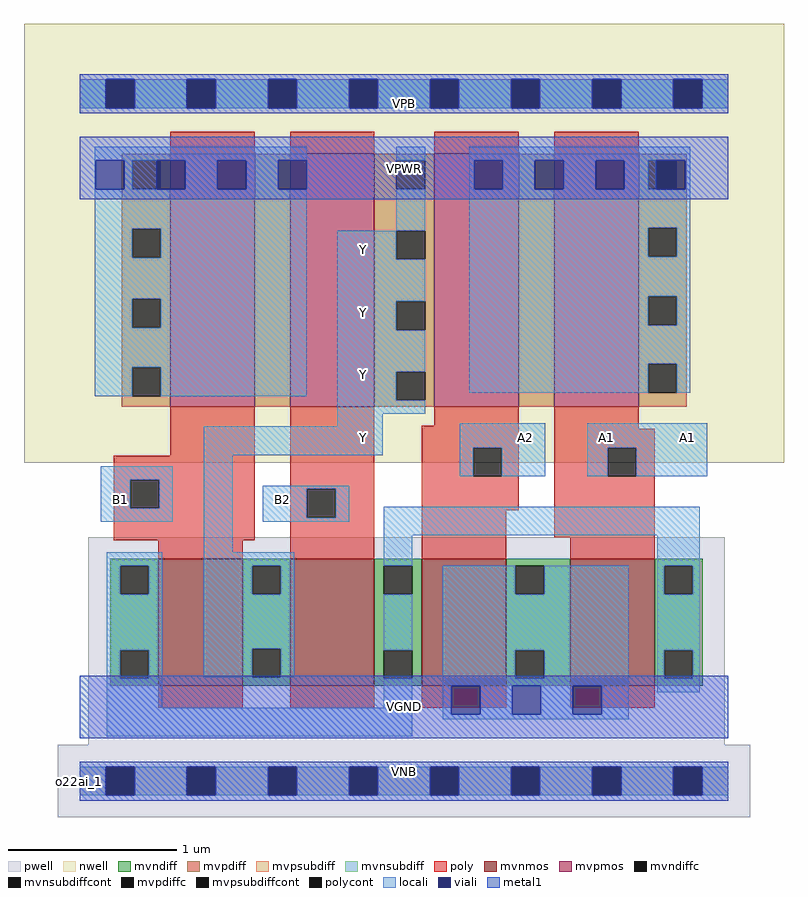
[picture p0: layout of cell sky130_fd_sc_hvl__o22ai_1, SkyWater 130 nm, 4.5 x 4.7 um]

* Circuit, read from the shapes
.subckt sky130_fd_sc_hvl__o22ai_1 A1 A2 B1 B2 VGND VNB VPB VPWR Y
XM1 Y B1 n1 VNB sky130_fd_pr__nfet_g5v0d10v5 w=0.75 l=0.5
XM2 n1 B2 Y VNB sky130_fd_pr__nfet_g5v0d10v5 w=0.75 l=0.5
XM3 VGND A2 n1 VNB sky130_fd_pr__nfet_g5v0d10v5 w=0.75 l=0.5
XM4 n1 A1 VGND VNB sky130_fd_pr__nfet_g5v0d10v5 w=0.75 l=0.5
XM5 n2 B1 VPWR VPB sky130_fd_pr__pfet_g5v0d10v5 w=1.5 l=0.5
XM6 Y B2 n2 VPB sky130_fd_pr__pfet_g5v0d10v5 w=1.5 l=0.5
XM7 n3 A2 Y VPB sky130_fd_pr__pfet_g5v0d10v5 w=1.5 l=0.5
XM8 VPWR A1 n3 VPB sky130_fd_pr__pfet_g5v0d10v5 w=1.5 l=0.5
.ends

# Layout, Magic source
magic
tech sky130B
magscale 1 2
<< nwell >>
rect -66 377 834 897
<< pwell >>
rect 10 43 764 289
rect -26 -43 794 43
<< mvnmos >>
rect 93 113 193 263
rect 249 113 349 263
rect 405 113 505 263
rect 581 113 681 263
<< mvpmos >>
rect 107 443 207 743
rect 249 443 349 743
rect 420 443 520 743
rect 562 443 662 743
<< mvndiff >>
rect 36 255 93 263
rect 36 221 48 255
rect 82 221 93 255
rect 36 155 93 221
rect 36 121 48 155
rect 82 121 93 155
rect 36 113 93 121
rect 193 255 249 263
rect 193 221 204 255
rect 238 221 249 255
rect 193 157 249 221
rect 193 123 204 157
rect 238 123 249 157
rect 193 113 249 123
rect 349 255 405 263
rect 349 221 360 255
rect 394 221 405 255
rect 349 155 405 221
rect 349 121 360 155
rect 394 121 405 155
rect 349 113 405 121
rect 505 255 581 263
rect 505 221 516 255
rect 550 221 581 255
rect 505 155 581 221
rect 505 121 516 155
rect 550 121 581 155
rect 505 113 581 121
rect 681 255 738 263
rect 681 221 692 255
rect 726 221 738 255
rect 681 155 738 221
rect 681 121 692 155
rect 726 121 738 155
rect 681 113 738 121
<< mvpdiff >>
rect 50 735 107 743
rect 50 701 62 735
rect 96 701 107 735
rect 50 654 107 701
rect 50 620 62 654
rect 96 620 107 654
rect 50 571 107 620
rect 50 537 62 571
rect 96 537 107 571
rect 50 490 107 537
rect 50 456 62 490
rect 96 456 107 490
rect 50 443 107 456
rect 207 443 249 743
rect 349 735 420 743
rect 349 701 375 735
rect 409 701 420 735
rect 349 652 420 701
rect 349 618 375 652
rect 409 618 420 652
rect 349 568 420 618
rect 349 534 375 568
rect 409 534 420 568
rect 349 485 420 534
rect 349 451 375 485
rect 409 451 420 485
rect 349 443 420 451
rect 520 443 562 743
rect 662 735 719 743
rect 662 701 673 735
rect 707 701 719 735
rect 662 655 719 701
rect 662 621 673 655
rect 707 621 719 655
rect 662 574 719 621
rect 662 540 673 574
rect 707 540 719 574
rect 662 494 719 540
rect 662 460 673 494
rect 707 460 719 494
rect 662 443 719 460
<< mvndiffc >>
rect 48 221 82 255
rect 48 121 82 155
rect 204 221 238 255
rect 204 123 238 157
rect 360 221 394 255
rect 360 121 394 155
rect 516 221 550 255
rect 516 121 550 155
rect 692 221 726 255
rect 692 121 726 155
<< mvpdiffc >>
rect 62 701 96 735
rect 62 620 96 654
rect 62 537 96 571
rect 62 456 96 490
rect 375 701 409 735
rect 375 618 409 652
rect 375 534 409 568
rect 375 451 409 485
rect 673 701 707 735
rect 673 621 707 655
rect 673 540 707 574
rect 673 460 707 494
<< mvpsubdiff >>
rect 0 -17 31 17
rect 65 -17 127 17
rect 161 -17 223 17
rect 257 -17 319 17
rect 353 -17 415 17
rect 449 -17 511 17
rect 545 -17 607 17
rect 641 -17 703 17
rect 737 -17 768 17
<< mvnsubdiff >>
rect 0 797 31 831
rect 65 797 127 831
rect 161 797 223 831
rect 257 797 319 831
rect 353 797 415 831
rect 449 797 511 831
rect 545 797 607 831
rect 641 797 703 831
rect 737 797 768 831
<< mvpsubdiffcont >>
rect 31 -17 65 17
rect 127 -17 161 17
rect 223 -17 257 17
rect 319 -17 353 17
rect 415 -17 449 17
rect 511 -17 545 17
rect 607 -17 641 17
rect 703 -17 737 17
<< mvnsubdiffcont >>
rect 31 797 65 831
rect 127 797 161 831
rect 223 797 257 831
rect 319 797 353 831
rect 415 797 449 831
rect 511 797 545 831
rect 607 797 641 831
rect 703 797 737 831
<< poly >>
rect 107 743 207 769
rect 249 743 349 769
rect 420 743 520 769
rect 562 743 662 769
rect 107 385 207 443
rect 40 357 207 385
rect 40 323 60 357
rect 94 323 207 357
rect 40 285 207 323
rect 249 346 349 443
rect 420 421 520 443
rect 249 312 269 346
rect 303 312 349 346
rect 93 263 193 285
rect 249 263 349 312
rect 405 395 520 421
rect 405 361 466 395
rect 500 361 520 395
rect 405 321 520 361
rect 562 417 662 443
rect 562 395 681 417
rect 562 361 625 395
rect 659 361 681 395
rect 405 263 505 321
rect 562 289 681 361
rect 581 263 681 289
rect 93 87 193 113
rect 249 87 349 113
rect 405 87 505 113
rect 581 87 681 113
<< polycont >>
rect 60 323 94 357
rect 269 312 303 346
rect 466 361 500 395
rect 625 361 659 395
<< locali >>
rect 0 797 31 831
rect 65 797 127 831
rect 161 797 223 831
rect 257 797 319 831
rect 353 797 415 831
rect 449 797 511 831
rect 545 797 607 831
rect 641 797 703 831
rect 737 797 768 831
rect 18 735 269 751
rect 18 701 19 735
rect 53 701 62 735
rect 125 701 163 735
rect 197 701 235 735
rect 18 654 269 701
rect 18 620 62 654
rect 96 620 269 654
rect 375 735 409 751
rect 375 652 409 701
rect 18 571 269 620
rect 18 537 62 571
rect 96 537 269 571
rect 18 490 269 537
rect 18 456 62 490
rect 96 456 269 490
rect 305 618 375 652
rect 305 568 409 618
rect 305 534 375 568
rect 305 485 409 534
rect 305 451 375 485
rect 461 735 723 751
rect 461 701 467 735
rect 501 701 539 735
rect 573 701 611 735
rect 645 701 673 735
rect 717 701 723 735
rect 461 655 723 701
rect 461 621 673 655
rect 707 621 723 655
rect 461 574 723 621
rect 461 540 673 574
rect 707 540 723 574
rect 461 494 723 540
rect 461 460 673 494
rect 707 460 723 494
rect 305 435 409 451
rect 305 420 359 435
rect 147 386 359 420
rect 450 395 551 424
rect 25 357 110 373
rect 25 323 60 357
rect 94 323 110 357
rect 25 307 110 323
rect 147 271 181 386
rect 450 361 466 395
rect 500 361 551 395
rect 601 395 743 424
rect 601 361 625 395
rect 659 361 743 395
rect 217 346 319 350
rect 217 312 269 346
rect 303 312 319 346
rect 217 307 319 312
rect 360 291 734 325
rect 32 255 98 271
rect 32 221 48 255
rect 82 221 98 255
rect 32 155 98 221
rect 32 121 48 155
rect 82 121 98 155
rect 147 255 254 271
rect 147 221 204 255
rect 238 221 254 255
rect 147 157 254 221
rect 147 123 204 157
rect 238 123 254 157
rect 360 255 394 291
rect 684 255 734 291
rect 360 155 394 221
rect 32 87 98 121
rect 360 87 394 121
rect 32 53 394 87
rect 430 221 516 255
rect 550 221 650 255
rect 430 155 650 221
rect 430 121 516 155
rect 550 121 650 155
rect 430 113 650 121
rect 430 79 440 113
rect 474 79 512 113
rect 546 79 584 113
rect 618 79 650 113
rect 684 221 692 255
rect 726 221 734 255
rect 684 155 734 221
rect 684 121 692 155
rect 726 121 734 155
rect 684 105 734 121
rect 430 73 650 79
rect 0 -17 31 17
rect 65 -17 127 17
rect 161 -17 223 17
rect 257 -17 319 17
rect 353 -17 415 17
rect 449 -17 511 17
rect 545 -17 607 17
rect 641 -17 703 17
rect 737 -17 768 17
<< viali >>
rect 31 797 65 831
rect 127 797 161 831
rect 223 797 257 831
rect 319 797 353 831
rect 415 797 449 831
rect 511 797 545 831
rect 607 797 641 831
rect 703 797 737 831
rect 19 701 53 735
rect 91 701 96 735
rect 96 701 125 735
rect 163 701 197 735
rect 235 701 269 735
rect 467 701 501 735
rect 539 701 573 735
rect 611 701 645 735
rect 683 701 707 735
rect 707 701 717 735
rect 440 79 474 113
rect 512 79 546 113
rect 584 79 618 113
rect 31 -17 65 17
rect 127 -17 161 17
rect 223 -17 257 17
rect 319 -17 353 17
rect 415 -17 449 17
rect 511 -17 545 17
rect 607 -17 641 17
rect 703 -17 737 17
<< metal1 >>
rect 0 831 768 837
rect 0 797 31 831
rect 65 797 127 831
rect 161 797 223 831
rect 257 797 319 831
rect 353 797 415 831
rect 449 797 511 831
rect 545 797 607 831
rect 641 797 703 831
rect 737 797 768 831
rect 0 791 768 797
rect 0 735 768 763
rect 0 701 19 735
rect 53 701 91 735
rect 125 701 163 735
rect 197 701 235 735
rect 269 701 467 735
rect 501 701 539 735
rect 573 701 611 735
rect 645 701 683 735
rect 717 701 768 735
rect 0 689 768 701
rect 0 113 768 125
rect 0 79 440 113
rect 474 79 512 113
rect 546 79 584 113
rect 618 79 768 113
rect 0 51 768 79
rect 0 17 768 23
rect 0 -17 31 17
rect 65 -17 127 17
rect 161 -17 223 17
rect 257 -17 319 17
rect 353 -17 415 17
rect 449 -17 511 17
rect 545 -17 607 17
rect 641 -17 703 17
rect 737 -17 768 17
rect 0 -23 768 -17
<< labels >>
rlabel comment s 0 0 0 0 4 o22ai_1
flabel metal1 s 0 51 768 125 0 FreeSans 340 0 0 0 VGND
port 5 nsew ground bidirectional
flabel metal1 s 0 0 768 23 0 FreeSans 340 0 0 0 VNB
port 6 nsew ground bidirectional
flabel metal1 s 0 689 768 763 0 FreeSans 340 0 0 0 VPWR
port 8 nsew power bidirectional
flabel metal1 s 0 791 768 814 0 FreeSans 340 0 0 0 VPB
port 7 nsew power bidirectional
flabel locali s 607 390 641 424 0 FreeSans 340 0 0 0 A1
port 1 nsew signal input
flabel locali s 703 390 737 424 0 FreeSans 340 0 0 0 A1
port 1 nsew signal input
flabel locali s 511 390 545 424 0 FreeSans 340 0 0 0 A2
port 2 nsew signal input
flabel locali s 31 316 65 350 0 FreeSans 340 0 0 0 B1
port 3 nsew signal input
flabel locali s 223 316 257 350 0 FreeSans 340 0 0 0 B2
port 4 nsew signal input
flabel locali s 319 390 353 424 0 FreeSans 340 0 0 0 Y
port 9 nsew signal output
flabel locali s 319 464 353 498 0 FreeSans 340 0 0 0 Y
port 9 nsew signal output
flabel locali s 319 538 353 572 0 FreeSans 340 0 0 0 Y
port 9 nsew signal output
flabel locali s 319 612 353 646 0 FreeSans 340 0 0 0 Y
port 9 nsew signal output
<< properties >>
string FIXED_BBOX 0 0 768 814
string GDS_END 386136
string GDS_FILE $PDKPATH/libs.ref/sky130_fd_sc_hvl/gds/sky130_fd_sc_hvl.gds
string GDS_START 376348
string LEFclass CORE
string LEFsite unithv
string LEFsymmetry X Y
<< end >>
